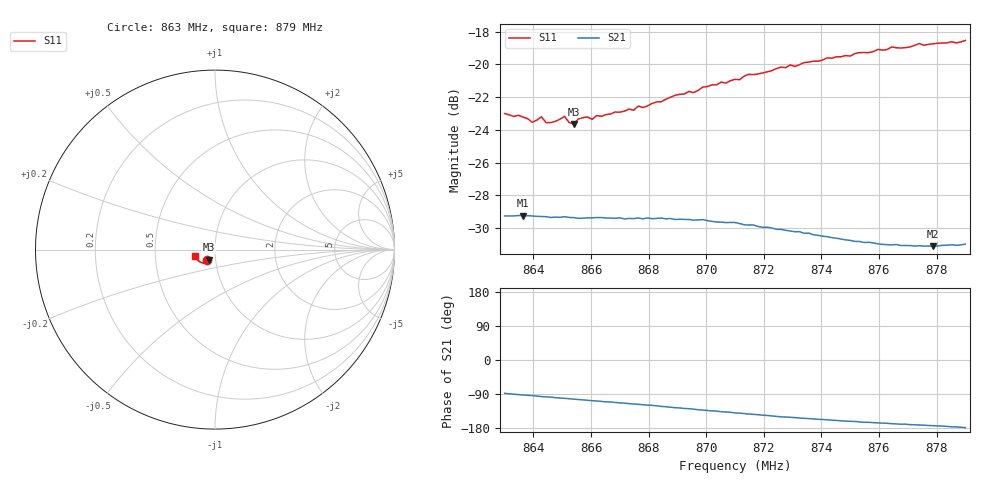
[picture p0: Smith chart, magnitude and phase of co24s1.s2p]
# HZ S RI R 50
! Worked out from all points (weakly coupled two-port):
!   101 points, 863 MHz to 879 MHz, reference 50 ohm
!   highest |S21| = -29.24 dB at 863.64 MHz (marker M1); lowest = -31.1 dB at 877.88 MHz (marker M2)
!   lowest |S11| = -23.6 dB at 865.4 MHz (marker M3), VSWR 1.14, Z = 46.5 - j5.3 ohm
!   |S11| at or under -10 dB: start of sweep to end of sweep
!   S12 and S22 are empty: the file has one direction only
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8.63e8  -0.0435 -0.0558  0.00122 -0.0344  0 0  0 0
8.6364e8  -0.0408 -0.0557  -0.00138 -0.0345  0 0  0 0
8.6396e8  -0.0372 -0.0552  -0.00233 -0.0344  0 0  0 0
8.6428e8  -0.0392 -0.057  -0.00396 -0.0341  0 0  0 0
8.6444e8  -0.0365 -0.0554  -0.0042 -0.034  0 0  0 0
8.6508e8  -0.0421 -0.0552  -0.00656 -0.0336  0 0  0 0
8.6524e8  -0.035 -0.0565  -0.00724 -0.0333  0 0  0 0
8.654e8  -0.0332 -0.0568  -0.0078 -0.0331  0 0  0 0
8.6572e8  -0.0336 -0.06  -0.00894 -0.0327  0 0  0 0
8.6604e8  -0.0332 -0.0593  -0.0102 -0.0324  0 0  0 0
8.662e8  -0.0349 -0.0604  -0.0107 -0.0323  0 0  0 0
8.6748e8  -0.033 -0.0644  -0.0149 -0.0303  0 0  0 0
8.6764e8  -0.0356 -0.0656  -0.0154 -0.0303  0 0  0 0
8.678e8  -0.0348 -0.0651  -0.0159 -0.0298  0 0  0 0
8.6844e8  -0.0372 -0.0673  -0.0182 -0.0286  0 0  0 0
8.6892e8  -0.0387 -0.0705  -0.0197 -0.0272  0 0  0 0
8.6956e8  -0.0414 -0.0708  -0.0214 -0.0257  0 0  0 0
8.71e8  -0.0496 -0.0751  -0.0251 -0.0212  0 0  0 0
8.7372e8  -0.0703 -0.0743  -0.0274 -0.0125  0 0  0 0
8.7644e8  -0.0947 -0.0618  -0.0275 -0.00582  0 0  0 0
8.7788e8  -0.1051 -0.0482  -0.0276 -0.00326  0 0  0 0
8.79e8  -0.1121 -0.0378  -0.0282 -0.00073  0 0  0 0
